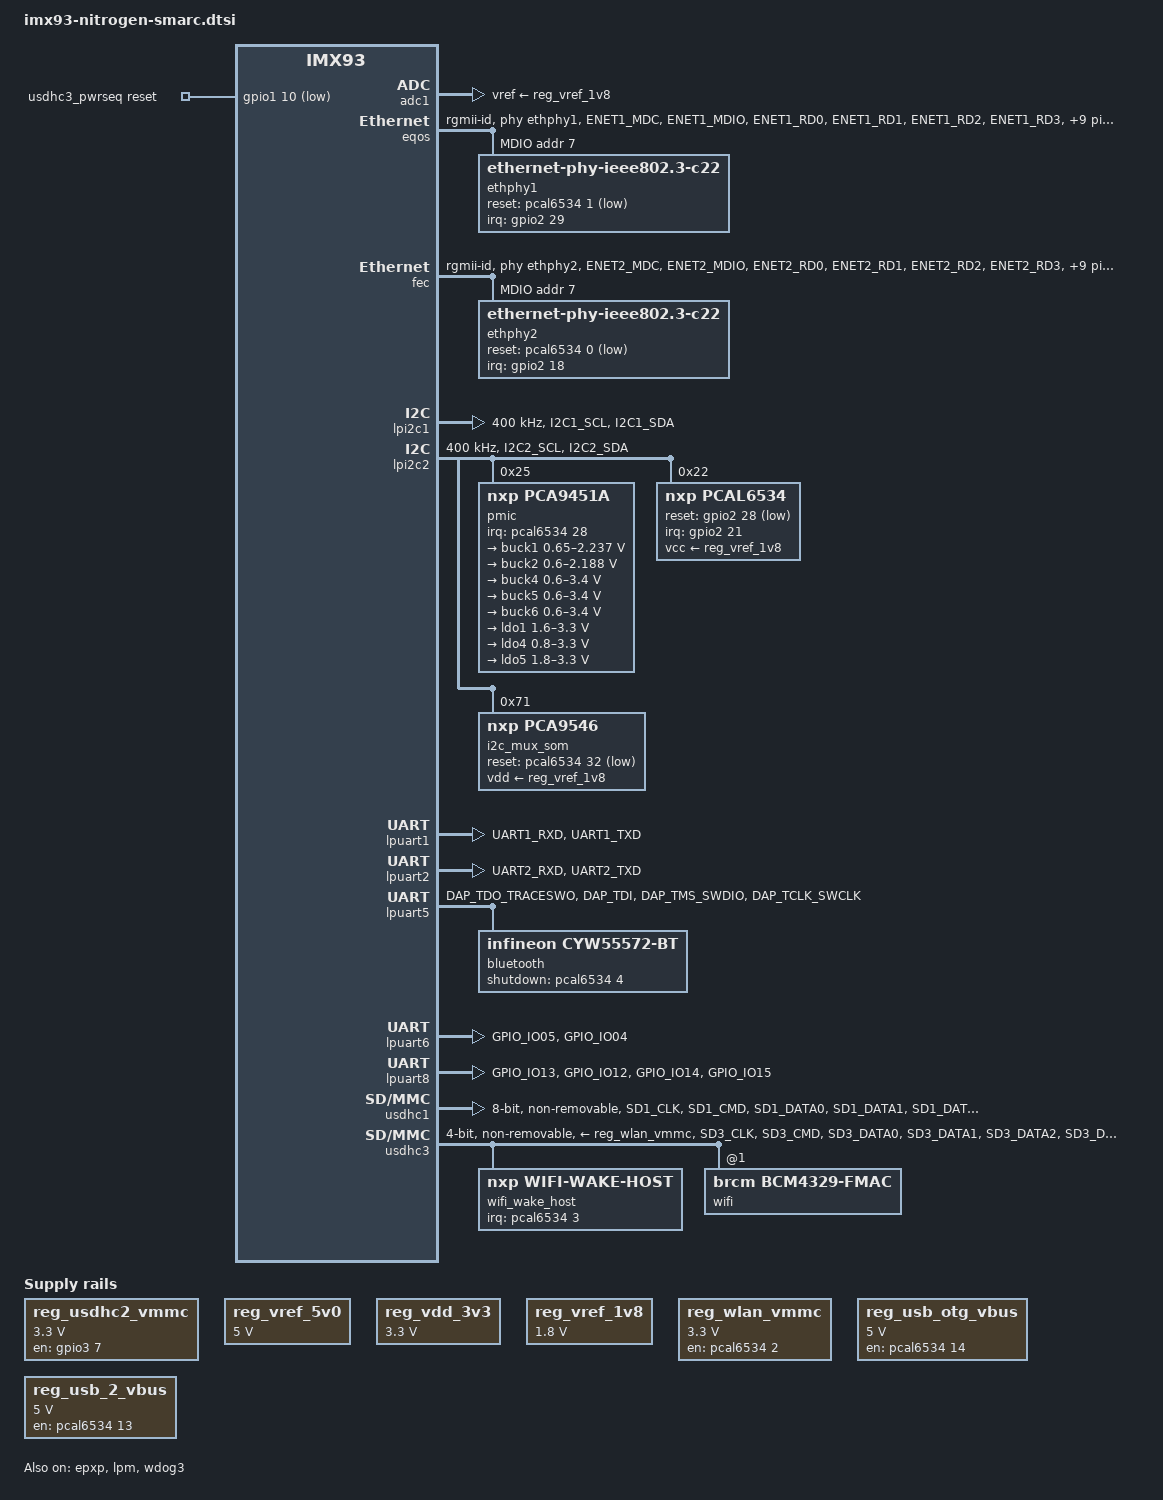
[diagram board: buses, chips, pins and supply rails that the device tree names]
// SPDX-License-Identifier: (GPL-2.0-or-later OR MIT)
/*
 * Copyright 2024 Boundary Devices
 *
 */

/dts-v1/;

#include <dt-bindings/usb/pd.h>
#include <dt-bindings/leds/common.h>
#include "imx93.dtsi"

/ {
	aliases {
		eth0 = &eqos;
		eth1 = &fec;
		spi0 = &lpspi3;
		spi1 = &lpspi1;
	};

	chosen {
		stdout-path = &lpuart1;
	};

	reserved-memory {
		#address-cells = <2>;
		#size-cells = <2>;
		ranges;

		linux,cma {
			compatible = "shared-dma-pool";
			reusable;
			alloc-ranges = <0 0x80000000 0 0x40000000>;
			size = <0 0x10000000>;
			linux,cma-default;
		};

		ele_reserved: ele-reserved@a4120000 {
			compatible = "shared-dma-pool";
			reg = <0 0xa4120000 0 0x100000>;
			no-map;
		};
	};

	reg_usdhc2_vmmc: regulator-usdhc2 {
		compatible = "regulator-fixed";
		pinctrl-names = "default";
		pinctrl-0 = <&pinctrl_reg_usdhc2_vmmc>;
		regulator-name = "VSD_3V3";
		regulator-min-microvolt = <3300000>;
		regulator-max-microvolt = <3300000>;
		gpio = <&gpio3 7 GPIO_ACTIVE_HIGH>;
		off-on-delay-us = <12000>;
		enable-active-high;
	};

	reg_vref_5v0: regulator-5v0 {
		compatible = "regulator-fixed";
		regulator-name = "VDD_5V0";
		regulator-min-microvolt = <5000000>;
		regulator-max-microvolt = <5000000>;
	};

	reg_vdd_3v3: regulator-vdd {
		compatible = "regulator-fixed";
		regulator-name = "VDD_3V3";
		regulator-min-microvolt = <3300000>;
		regulator-max-microvolt = <3300000>;
	};

	reg_vref_1v8: regulator-adc-vref {
		compatible = "regulator-fixed";
		regulator-name = "vref_1v8";
		regulator-min-microvolt = <1800000>;
		regulator-max-microvolt = <1800000>;
	};

	reg_wlan_vmmc: regulator-wlan-vmmc {
		compatible = "regulator-fixed";
		regulator-name = "reg_wlan_vmmc";
		regulator-min-microvolt = <3300000>;
		regulator-max-microvolt = <3300000>;
		gpio = <&pcal6534 2 GPIO_ACTIVE_HIGH>; /* P0_2 -> WL_EN */
		startup-delay-us = <70000>;
		enable-active-high;
	};

	usdhc3_pwrseq: usdhc3_pwrseq {
		compatible = "mmc-pwrseq-simple";
		reset-gpios = <&gpio1 10 GPIO_ACTIVE_LOW>; /* SDIO_RESET */
	};

	reg_usb_otg_vbus: regulator-usb-otg-vbus {
		compatible = "regulator-fixed";
		regulator-name = "usb_otg_vbus";
		regulator-min-microvolt = <5000000>;
		regulator-max-microvolt = <5000000>;
		gpio = <&pcal6534 14 GPIO_ACTIVE_HIGH>; /* P1_6 -> USB0_EN_OC */
		enable-active-high;
	};

	reg_usb_2_vbus: regulator-usb-2-vbus {
		compatible = "regulator-fixed";
		regulator-name = "usb_2_vbus";
		regulator-min-microvolt = <5000000>;
		regulator-max-microvolt = <5000000>;
		gpio = <&pcal6534 13 GPIO_ACTIVE_HIGH>; /* P1_5 -> USB1_EN_OC */
		enable-active-high;
	};
};

&adc1 {
	vref-supply = <&reg_vref_1v8>;
	status = "okay";
};

&ele_fw2 {
	memory-region = <&ele_reserved>;
};

&epxp {
	status = "okay";
};

&eqos {
	pinctrl-names = "default", "sleep";
	pinctrl-0 = <&pinctrl_eqos>;
	pinctrl-1 = <&pinctrl_eqos_sleep>;
	phy-mode = "rgmii-id";
	phy-handle = <&ethphy1>;
	status = "okay";

	mdio {
		compatible = "snps,dwmac-mdio";
		#address-cells = <1>;
		#size-cells = <0>;

		ethphy1: ethernet-phy@7 {
			compatible = "ethernet-phy-ieee802.3-c22";
			reg = <7>;
			eee-broken-1000t;
			/* This platform has no seperate eth_lpi */
			interrupts-extended = <&gpio2 29 IRQ_TYPE_LEVEL_LOW>;
			reset-gpios =<&pcal6534 1 GPIO_ACTIVE_LOW>;
			reset-assert-us = <10000>;
			reset-deassert-us = <80000>;
		};
	};
};

&fec {
	pinctrl-names = "default", "sleep";
	pinctrl-0 = <&pinctrl_fec>;
	pinctrl-1 = <&pinctrl_fec_sleep>;
	phy-mode = "rgmii-id";
	phy-handle = <&ethphy2>;
	fsl,magic-packet;
	status = "okay";

	mdio {
		#address-cells = <1>;
		#size-cells = <0>;

		ethphy2: ethernet-phy@7 {
			compatible = "ethernet-phy-ieee802.3-c22";
			reg = <7>;
			eee-broken-1000t;
			interrupts-extended = <&gpio2 18 IRQ_TYPE_LEVEL_LOW>;
			reset-gpios = <&pcal6534 0 GPIO_ACTIVE_LOW>;
			reset-assert-us = <10000>;
			reset-deassert-us = <150000>;
		};
	};
};

&flexcan1 {
	pinctrl-names = "default";
	pinctrl-0 = <&pinctrl_can1>;
	status = "disabled";
};

&flexcan2 {
	pinctrl-names = "default";
	pinctrl-0 = <&pinctrl_can2>;
	status = "disabled";
};

&lpi2c1 { /* PMIC I2C bus, but the PMIC is on lpi2c2 */
	#address-cells = <1>;
	#size-cells = <0>;
	clock-frequency = <400000>;
	pinctrl-names = "default", "sleep";
	pinctrl-0 = <&pinctrl_lpi2c1>;
	pinctrl-1 = <&pinctrl_lpi2c1>;
	status = "okay";
};

&lpi2c2 {
	#address-cells = <1>;
	#size-cells = <0>;
	clock-frequency = <400000>;
	pinctrl-names = "default", "sleep";
	pinctrl-0 = <&pinctrl_lpi2c2>;
	pinctrl-1 = <&pinctrl_lpi2c2>;
	status = "okay";

	pmic@25 {
		compatible = "nxp,pca9451a";
		reg = <0x25>;
		interrupt-parent = <&pcal6534>;
		interrupts = <28 IRQ_TYPE_EDGE_FALLING>;

		regulators {
			buck1: BUCK1 {
				regulator-name = "BUCK1";
				regulator-min-microvolt = <650000>;
				regulator-max-microvolt = <2237500>;
				regulator-boot-on;
				regulator-always-on;
				regulator-ramp-delay = <3125>;
			};

			buck2: BUCK2 {
				regulator-name = "BUCK2";
				regulator-min-microvolt = <600000>;
				regulator-max-microvolt = <2187500>;
				regulator-boot-on;
				regulator-always-on;
				regulator-ramp-delay = <3125>;
			};

			buck4: BUCK4{
				regulator-name = "BUCK4";
				regulator-min-microvolt = <600000>;
				regulator-max-microvolt = <3400000>;
				regulator-boot-on;
				regulator-always-on;
			};

			buck5: BUCK5{
				regulator-name = "BUCK5";
				regulator-min-microvolt = <600000>;
				regulator-max-microvolt = <3400000>;
				regulator-boot-on;
				regulator-always-on;
			};

			buck6: BUCK6 {
				regulator-name = "BUCK6";
				regulator-min-microvolt = <600000>;
				regulator-max-microvolt = <3400000>;
				regulator-boot-on;
				regulator-always-on;
			};

			ldo1: LDO1 {
				regulator-name = "LDO1";
				regulator-min-microvolt = <1600000>;
				regulator-max-microvolt = <3300000>;
				regulator-boot-on;
				regulator-always-on;
			};

			ldo4: LDO4 {
				regulator-name = "LDO4";
				regulator-min-microvolt = <800000>;
				regulator-max-microvolt = <3300000>;
				regulator-boot-on;
				regulator-always-on;
			};

			ldo5: LDO5 {
				regulator-name = "LDO5";
				regulator-min-microvolt = <1800000>;
				regulator-max-microvolt = <3300000>;
				regulator-boot-on;
				regulator-always-on;
			};
		};
	};

	pcal6534: gpio@22 {
		compatible = "nxp,pcal6534";
		pinctrl-names = "default";
		pinctrl-0 = <&pinctrl_pcal6534>;
		reg = <0x22>;
		vcc-supply = <&reg_vref_1v8>;
		gpio-controller;
		#gpio-cells = <2>;
		interrupt-controller;
		#interrupt-cells = <2>;
		interrupt-parent = <&gpio2>;
		interrupts = <21 IRQ_TYPE_LEVEL_LOW>;
		reset-gpios = <&gpio2 28 GPIO_ACTIVE_LOW>; /* GPIO_IO28 */
		gpio-line-names = "P0_0 ENET2", "P0_1 ENET1", "P0_2 WL_EN",
					"P0_3 WIFI_SDIO_WAKE", "P0_4 BT_EN",
					"P0_5 EMMC_RESET", "P0_6 BT_HOST_WAKE",
					"P0_7 ESPI1_CS1",
					"P1_0 CHARGER_PRESENT", "P1_1 ESPI_ALERT0",
					"P1_2 TEST", "P1_3 ETH1_SPEED",
					"P1_4 SD2_WP", "P1_5 USB2_PWR_EN_OC",
					"P1_6 USB1_PWR_EN_OC", "P1_7 GPIO_4",
					"P2_0 LCD0_BCKL_EN", "P2_1 LCD0_VDD_EN",
					"P2_2 CARRIER_STBY", "P2_3 LCD1_BCKL_EN",
					"P2_4 CHARGING", "P2_5 SLEEP",
					"P2_6 BAT_LOW", "P2_7 SMBUS_IRQ",
					"P3_0 GPIO_8", "P3_1 RESET_OUT",
					"P3_2 GPIO_10", "P3_3 GPIO_11",
					"P3_4 PMIC_IRQ", "P3_5 GPIO_13",
					"P3_6 ETH0_SPEED", "P3_7 CARRIER_PWR_ON",
					"P4_0 I2C_HUB_RESET", "P4_1 GPIO_9";
	};

	i2c_mux_som@71 {
		pinctrl-names = "default";
		compatible = "nxp,pca9546";
		reg = <0x71>;
		vdd-supply = <&reg_vref_1v8>;
		reset-gpios = <&pcal6534 32 GPIO_ACTIVE_LOW>; /* P4_0 */
		#address-cells = <1>;
		#size-cells = <0>;

		i2c_mux_som_csi0: i2cmuxsom@csi0 {
			/* CSI0 I2C */
			clock-frequency = <100000>;
			reg = <0>;
			#address-cells = <1>;
			#size-cells = <0>;
		};

		i2c_mux_som_lcd: i2cmuxsom@lcd {
			/* LCD I2C */
			clock-frequency = <100000>;
			reg = <1>;
			#address-cells = <1>;
			#size-cells = <0>;
		};

		i2c_mux_som_csi1: i2cmuxsom@csi1 {
			/* CSI1 I2C */
			clock-frequency = <100000>;
			reg = <2>;
			#address-cells = <1>;
			#size-cells = <0>;
		};
	};
};

&lpi2c3 { /* SM_I2C_GP */
	#address-cells = <1>;
	#size-cells = <0>;
	clock-frequency = <400000>; // 100000 ??
	pinctrl-names = "default", "sleep";
	pinctrl-0 = <&pinctrl_lpi2c3>;
	pinctrl-1 = <&pinctrl_lpi2c3>;
	status = "disabled";
};

&lpm {
	soc-supply = <&buck1>;
	status = "okay";
};

&lpspi1 { /* SPI1 */
	fsl,spi-num-chipselects = <2>;
	pinctrl-names = "default", "sleep";
	pinctrl-0 = <&pinctrl_lpspi1>;
	pinctrl-1 = <&pinctrl_lpspi1>;
	cs-gpios = <0>, <&pcal6534 7 GPIO_ACTIVE_HIGH>;
	status = "disabled";
};

&lpspi3 { /* SPI0 */
	fsl,spi-num-chipselects = <2>;
	pinctrl-names = "default", "sleep";
	pinctrl-0 = <&pinctrl_lpspi3>;
	pinctrl-1 = <&pinctrl_lpspi3>;
	status = "disabled";
};

&lpuart1 { /* console SER1 */
	pinctrl-names = "default";
	pinctrl-0 = <&pinctrl_uart1>;
	status = "okay";
};

&lpuart2 { /* M33 console SER2 */
	pinctrl-names = "default";
	pinctrl-0 = <&pinctrl_uart2>;
	status = "okay";
};

&lpuart5 {
	/* BT */
	pinctrl-names = "default";
	pinctrl-0 = <&pinctrl_uart5>;
	uart-has-rtscts;
	status = "okay";

	bluetooth {
		shutdown-gpios = <&pcal6534 4 GPIO_ACTIVE_HIGH>;
		compatible = "infineon,cyw55572-bt";
		brcm,requires-autobaud-mode;
		max-speed = <921600>;
	};
};

&lpuart6 { /*  SER3 */
	pinctrl-names = "default";
	pinctrl-0 = <&pinctrl_uart6>;
	status = "okay";
};

&lpuart8 { /*  SER0 */
	pinctrl-names = "default";
	pinctrl-0 = <&pinctrl_uart8>;
	uart-has-rtscts;
	status = "okay";
};

&usbotg1 { /* USB0 */
	vbus-supply = <&reg_usb_otg_vbus>;
	samsung,picophy-pre-emp-curr-control = <3>;
	samsung,picophy-dc-vol-level-adjust = <7>;
	status = "disabled";
};

&usbotg2 { /* USB1 */
	vbus-supply = <&reg_usb_2_vbus>;
	disable-over-current;
	samsung,picophy-pre-emp-curr-control = <3>;
	samsung,picophy-dc-vol-level-adjust = <7>;
	status = "disabled";
};

&usdhc1 { /* eMMC */
	pinctrl-names = "default", "state_100mhz", "state_200mhz";
	pinctrl-0 = <&pinctrl_usdhc1>;
	pinctrl-1 = <&pinctrl_usdhc1>;
	pinctrl-2 = <&pinctrl_usdhc1>;
	bus-width = <8>;
	non-removable;
	status = "okay";
};

&usdhc2 { /* SDIO */
	pinctrl-names = "default", "state_100mhz", "state_200mhz";
	pinctrl-0 = <&pinctrl_usdhc2>, <&pinctrl_usdhc2_gpio>;
	pinctrl-1 = <&pinctrl_usdhc2>, <&pinctrl_usdhc2_gpio>;
	pinctrl-2 = <&pinctrl_usdhc2>, <&pinctrl_usdhc2_gpio>;
	cd-gpios = <&gpio3 00 GPIO_ACTIVE_LOW>;
	fsl,cd-gpio-wakeup-disable;
	vmmc-supply = <&reg_usdhc2_vmmc>;
	bus-width = <4>;
	status = "disabled";
};

&usdhc3 { /* WiFi / Bluetooth */
	pinctrl-names = "default", "state_100mhz", "state_200mhz";
	pinctrl-0 = <&pinctrl_usdhc3>;
	pinctrl-1 = <&pinctrl_usdhc3>;
	pinctrl-2 = <&pinctrl_usdhc3>;
	mmc-pwrseq = <&usdhc3_pwrseq>;
	pinctrl-assert-gpios = <&pcal6534 2 GPIO_ACTIVE_HIGH>;
	bus-width = <4>;
	keep-power-in-suspend;
	non-removable;
	wakeup-source;
	pm-ignore-notify;
	voltage-ranges = <1800 1800>;
	fsl,tuning-start-tap = <20>;
	fsl,tuning-step= <2>;
	vmmc-supply = <&reg_wlan_vmmc>;
	vqmmc-1-8-v;
	vqmmc-supply = <&reg_vref_1v8>;
	status = "okay";
	#address-cells = <1>;
	#size-cells = <0>;

	wifi_wake_host {
		compatible = "nxp,wifi-wake-host";
		interrupt-parent = <&pcal6534>;
		/* pcal6534 IO expander limitation: only support edge-triggered irq */
		interrupts = <3 IRQ_TYPE_EDGE_FALLING>;
		interrupt-names = "host-wake";
	};

	wifi@1 {
		reg = <1>;
		compatible = "brcm,bcm4329-fmac";
		laird,regdomain = "US";
	};
};

&wdog3 {
	status = "okay";
};

&iomuxc {
	pinctrl_eqos: eqosgrp {
		fsl,pins = <
			MX93_PAD_ENET1_MDC__ENET_QOS_MDC			0x57e
			MX93_PAD_ENET1_MDIO__ENET_QOS_MDIO			0x57e
			MX93_PAD_ENET1_RD0__ENET_QOS_RGMII_RD0			0x37e
			MX93_PAD_ENET1_RD1__ENET_QOS_RGMII_RD1			0x37e
			MX93_PAD_ENET1_RD2__ENET_QOS_RGMII_RD2			0x37e
			MX93_PAD_ENET1_RD3__ENET_QOS_RGMII_RD3			0x37e
			MX93_PAD_ENET1_RXC__CCM_ENET_QOS_CLOCK_GENERATE_RX_CLK	0x3fe
			MX93_PAD_ENET1_RX_CTL__ENET_QOS_RGMII_RX_CTL		0x57e
			MX93_PAD_ENET1_TD0__ENET_QOS_RGMII_TD0			0x57e
			MX93_PAD_ENET1_TD1__ENET_QOS_RGMII_TD1			0x57e
			MX93_PAD_ENET1_TD2__ENET_QOS_RGMII_TD2			0x57e
			MX93_PAD_ENET1_TD3__ENET_QOS_RGMII_TD3			0x57e
			MX93_PAD_ENET1_TXC__CCM_ENET_QOS_CLOCK_GENERATE_TX_CLK	0x5fe
			MX93_PAD_ENET1_TX_CTL__ENET_QOS_RGMII_TX_CTL		0x57e
			MX93_PAD_GPIO_IO29__GPIO2_IO29				0x31e
		>;
	};

	pinctrl_eqos_sleep: eqosgrpsleep {
		fsl,pins = <
			MX93_PAD_ENET1_MDC__GPIO4_IO00				0x31e
			MX93_PAD_ENET1_MDIO__GPIO4_IO01				0x31e
			MX93_PAD_ENET1_RD0__GPIO4_IO10				0x31e
			MX93_PAD_ENET1_RD1__GPIO4_IO11				0x31e
			MX93_PAD_ENET1_RD2__GPIO4_IO12				0x31e
			MX93_PAD_ENET1_RD3__GPIO4_IO13				0x31e
			MX93_PAD_ENET1_RXC__GPIO4_IO09				0x31e
			MX93_PAD_ENET1_RX_CTL__GPIO4_IO08			0x31e
			MX93_PAD_ENET1_TD0__GPIO4_IO05				0x31e
			MX93_PAD_ENET1_TD1__GPIO4_IO04				0x31e
			MX93_PAD_ENET1_TD2__GPIO4_IO03				0x31e
			MX93_PAD_ENET1_TD3__GPIO4_IO02				0x31e
			MX93_PAD_ENET1_TXC__GPIO4_IO07				0x31e
			MX93_PAD_ENET1_TX_CTL__GPIO4_IO06			0x31e
		>;
	};

	pinctrl_fec: fecgrp {
		fsl,pins = <
			MX93_PAD_ENET2_MDC__ENET1_MDC				0x57e
			MX93_PAD_ENET2_MDIO__ENET1_MDIO				0x57e
			MX93_PAD_ENET2_RD0__ENET1_RGMII_RD0			0x37e
			MX93_PAD_ENET2_RD1__ENET1_RGMII_RD1			0x37e
			MX93_PAD_ENET2_RD2__ENET1_RGMII_RD2			0x37e
			MX93_PAD_ENET2_RD3__ENET1_RGMII_RD3			0x37e
			MX93_PAD_ENET2_RXC__ENET1_RGMII_RXC			0x37e
			MX93_PAD_ENET2_RX_CTL__ENET1_RGMII_RX_CTL		0x57e
			MX93_PAD_ENET2_TD0__ENET1_RGMII_TD0			0x57e
			MX93_PAD_ENET2_TD1__ENET1_RGMII_TD1			0x57e
			MX93_PAD_ENET2_TD2__ENET1_RGMII_TD2			0x57e
			MX93_PAD_ENET2_TD3__ENET1_RGMII_TD3			0x57e
			MX93_PAD_ENET2_TXC__ENET1_RGMII_TXC			0x57e
			MX93_PAD_ENET2_TX_CTL__ENET1_RGMII_TX_CTL		0x57e
			MX93_PAD_GPIO_IO18__GPIO2_IO18				0x31e
		>;
	};

	pinctrl_fec_sleep: fecsleepgrp {
		fsl,pins = <
			MX93_PAD_ENET2_MDC__GPIO4_IO14				0x51e
			MX93_PAD_ENET2_MDIO__GPIO4_IO15				0x51e
			MX93_PAD_ENET2_RD0__GPIO4_IO24				0x51e
			MX93_PAD_ENET2_RD1__GPIO4_IO25				0x51e
			MX93_PAD_ENET2_RD2__GPIO4_IO26				0x51e
			MX93_PAD_ENET2_RD3__GPIO4_IO27				0x51e
			MX93_PAD_ENET2_RXC__GPIO4_IO23				0x51e
			MX93_PAD_ENET2_RX_CTL__GPIO4_IO22			0x51e
			MX93_PAD_ENET2_TD0__GPIO4_IO19				0x51e
			MX93_PAD_ENET2_TD1__GPIO4_IO18				0x51e
			MX93_PAD_ENET2_TD2__GPIO4_IO17				0x51e
			MX93_PAD_ENET2_TD3__GPIO4_IO16				0x51e
			MX93_PAD_ENET2_TXC__GPIO4_IO21				0x51e
			MX93_PAD_ENET2_TX_CTL__GPIO4_IO20			0x51e
		>;
	};
	pinctrl_lpi2c1: lpi2c1grp {
		fsl,pins = <
			MX93_PAD_I2C1_SCL__LPI2C1_SCL				0x40000b9e
			MX93_PAD_I2C1_SDA__LPI2C1_SDA				0x40000b9e
		>;
	};

	pinctrl_lpi2c2: lpi2c2grp {
		fsl,pins = <
			MX93_PAD_I2C2_SCL__LPI2C2_SCL				0x40000b9e
			MX93_PAD_I2C2_SDA__LPI2C2_SDA				0x40000b9e
		>;
	};

	pinctrl_lpi2c3: lpi2c3grp {
		fsl,pins = <
			MX93_PAD_GPIO_IO00__LPI2C3_SDA				0x40000b9e
			MX93_PAD_GPIO_IO01__LPI2C3_SCL				0x40000b9e
			MX93_PAD_GPIO_IO02__GPIO2_IO02				0x31e
		>;
	};

	pinctrl_can1: can1grp {
		fsl,pins = <
			MX93_PAD_PDM_CLK__CAN1_TX				0x139e
			MX93_PAD_PDM_BIT_STREAM0__CAN1_RX			0x139e
		>;
	};

	pinctrl_can2: can2grp {
		fsl,pins = <
			MX93_PAD_GPIO_IO25__CAN2_TX				0x139e
			MX93_PAD_GPIO_IO27__CAN2_RX				0x139e
		>;
	};

	pinctrl_pcal6534: pcal6534grp {
		fsl,pins = <
			MX93_PAD_GPIO_IO28__GPIO2_IO28				0x31e
			MX93_PAD_GPIO_IO21__GPIO2_IO21				0x31e
		>;
	};

	pinctrl_lpspi1: lpspi1grp {
		fsl,pins = <
			MX93_PAD_SAI1_TXFS__LPSPI1_PCS0				0x3fe
			MX93_PAD_SAI1_TXC__LPSPI1_SIN				0x3fe
			MX93_PAD_SAI1_TXD0__LPSPI1_SCK				0x3fe
			MX93_PAD_SAI1_RXD0__LPSPI1_SOUT				0x3fe
		>;
	};

	pinctrl_lpspi3: lpspi3grp {
		fsl,pins = <
			MX93_PAD_GPIO_IO07__LPSPI3_PCS1				0x3fe
			MX93_PAD_GPIO_IO08__LPSPI3_PCS0				0x3fe
			MX93_PAD_GPIO_IO09__LPSPI3_SIN				0x3fe
			MX93_PAD_GPIO_IO10__LPSPI3_SOUT				0x3fe
			MX93_PAD_GPIO_IO11__LPSPI3_SCK				0x3fe
		>;
	};

	pinctrl_uart1: uart1grp {
		fsl,pins = <
			MX93_PAD_UART1_RXD__LPUART1_RX				0x31e
			MX93_PAD_UART1_TXD__LPUART1_TX				0x31e
		>;
	};

	pinctrl_uart2: uart2grp {
		fsl,pins = <
			MX93_PAD_UART2_RXD__LPUART2_RX				0x31e
			MX93_PAD_UART2_TXD__LPUART2_TX				0x31e
		>;
	};

	pinctrl_uart5: uart5grp {
		fsl,pins = <
			MX93_PAD_DAP_TDO_TRACESWO__LPUART5_TX			0x31e
			MX93_PAD_DAP_TDI__LPUART5_RX				0x31e
			MX93_PAD_DAP_TMS_SWDIO__LPUART5_RTS_B			0x31e
			MX93_PAD_DAP_TCLK_SWCLK__LPUART5_CTS_B			0x31e
		>;
	};

	pinctrl_uart6: uart6grp {
		fsl,pins = <
			MX93_PAD_GPIO_IO05__LPUART6_RX				0x31e
			MX93_PAD_GPIO_IO04__LPUART6_TX				0x31e
		>;
	};

	pinctrl_uart8: uart8grp {
		fsl,pins = <
			MX93_PAD_GPIO_IO13__LPUART8_RX				0x31e
			MX93_PAD_GPIO_IO12__LPUART8_TX				0x31e
			MX93_PAD_GPIO_IO14__LPUART8_CTS_B			0x31e
			MX93_PAD_GPIO_IO15__LPUART8_RTS_B			0x31e
		>;
	};

	pinctrl_usdhc1: usdhc1grp {
		fsl,pins = <
			MX93_PAD_SD1_CLK__USDHC1_CLK				0x15fe
			MX93_PAD_SD1_CMD__USDHC1_CMD				0x13fe
			MX93_PAD_SD1_DATA0__USDHC1_DATA0			0x13fe
			MX93_PAD_SD1_DATA1__USDHC1_DATA1			0x13fe
			MX93_PAD_SD1_DATA2__USDHC1_DATA2			0x13fe
			MX93_PAD_SD1_DATA3__USDHC1_DATA3			0x13fe
			MX93_PAD_SD1_DATA4__USDHC1_DATA4			0x13fe
			MX93_PAD_SD1_DATA5__USDHC1_DATA5			0x13fe
			MX93_PAD_SD1_DATA6__USDHC1_DATA6			0x13fe
			MX93_PAD_SD1_DATA7__USDHC1_DATA7			0x13fe
			MX93_PAD_SD1_STROBE__USDHC1_STROBE			0x15fe
		>;
	};

	pinctrl_reg_usdhc2_vmmc: regusdhc2vmmcgrp {
		fsl,pins = <
			MX93_PAD_SD2_RESET_B__GPIO3_IO07			0x31e
		>;
	};

	pinctrl_usdhc2_gpio: usdhc2gpiogrp {
		fsl,pins = <
			MX93_PAD_SD2_CD_B__GPIO3_IO00				0x31e
		>;
	};

	pinctrl_usdhc2: usdhc2grp {
		fsl,pins = <
			MX93_PAD_SD2_CLK__USDHC2_CLK				0x15fe
			MX93_PAD_SD2_CMD__USDHC2_CMD				0x13fe
			MX93_PAD_SD2_DATA0__USDHC2_DATA0			0x13fe
			MX93_PAD_SD2_DATA1__USDHC2_DATA1			0x13fe
			MX93_PAD_SD2_DATA2__USDHC2_DATA2			0x13fe
			MX93_PAD_SD2_DATA3__USDHC2_DATA3			0x13fe
			MX93_PAD_SD2_VSELECT__USDHC2_VSELECT			0x51e
		>;
	};

	pinctrl_usdhc3: usdhc3grp {
		fsl,pins = <
			MX93_PAD_SD3_CLK__USDHC3_CLK				0x15fe
			MX93_PAD_SD3_CMD__USDHC3_CMD				0x13fe
			MX93_PAD_SD3_DATA0__USDHC3_DATA0			0x13fe
			MX93_PAD_SD3_DATA1__USDHC3_DATA1			0x13fe
			MX93_PAD_SD3_DATA2__USDHC3_DATA2			0x13fe
			MX93_PAD_SD3_DATA3__USDHC3_DATA3			0x13fe
			MX93_PAD_PDM_BIT_STREAM1__GPIO1_IO10			0x31e
		>;
	};

	pinctrl_sai3: sai3grp {
		fsl,pins = <
			MX93_PAD_GPIO_IO16__SAI3_TX_BCLK			0x31e
			MX93_PAD_GPIO_IO17__SAI3_MCLK				0x31e
			MX93_PAD_GPIO_IO19__SAI3_TX_DATA00			0x31e
			MX93_PAD_GPIO_IO20__SAI3_RX_DATA00			0x31e
			MX93_PAD_GPIO_IO26__SAI3_TX_SYNC			0x31e
		>;
	};
};
